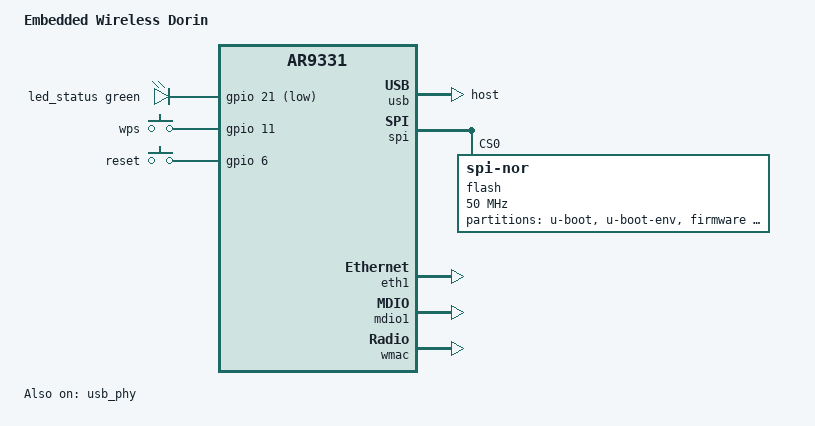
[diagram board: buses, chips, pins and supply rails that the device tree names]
// SPDX-License-Identifier: GPL-2.0-or-later OR MIT

#include "ar9331.dtsi"

#include <dt-bindings/gpio/gpio.h>
#include <dt-bindings/input/input.h>
#include <dt-bindings/leds/common.h>

/ {
	model = "Embedded Wireless Dorin";
	compatible = "embeddedwireless,dorin", "qca,ar9331";

	aliases {
		led-boot = &led_status;
		led-failsafe = &led_status;
		led-running = &led_status;
		led-upgrade = &led_status;
	};

	leds {
		compatible = "gpio-leds";

		led_status: status {
			function = LED_FUNCTION_STATUS;
			color = <LED_COLOR_ID_GREEN>;
			gpios = <&gpio 21 GPIO_ACTIVE_LOW>;
		};
	};

	keys {
		compatible = "gpio-keys";

		wps {
			label = "wps";
			linux,code = <KEY_WPS_BUTTON>;
			gpios = <&gpio 11 GPIO_ACTIVE_HIGH>;
		};

		reset {
			label = "reset";
			linux,code = <KEY_RESTART>;
			gpios = <&gpio 6 GPIO_ACTIVE_HIGH>;
		};
	};
};

&usb {
	dr_mode = "host";
	status = "okay";
};

&usb_phy {
	status = "okay";
};

&spi {
	status = "okay";

	flash@0 {
		compatible = "jedec,spi-nor";
		spi-max-frequency = <50000000>;
		reg = <0>;

		partitions {
			compatible = "fixed-partitions";
			#address-cells = <1>;
			#size-cells = <1>;

			partition@0 {
				label = "u-boot";
				reg = <0x000000 0x040000>;
				read-only;
			};

			partition@40000 {
				label = "u-boot-env";
				reg = <0x040000 0x010000>;
			};

			partition@50000 {
				compatible = "denx,uimage";
				label = "firmware";
				reg = <0x050000 0xfa0000>;
			};

			partition@ff0000 {
				label = "art";
				reg = <0xff0000 0x010000>;
				read-only;

				nvmem-layout {
					compatible = "fixed-layout";
					#address-cells = <1>;
					#size-cells = <1>;

					cal_art_1000: calibration@1000 {
						reg = <0x1000 0x440>;
					};

					macaddr_art_1002: macaddr@1002 {
						compatible = "mac-base";
						reg = <0x1002 0x6>;
						#nvmem-cell-cells = <1>;
					};
				};
			};
		};
	};
};

&eth1 {
	status = "okay";

	nvmem-cells = <&macaddr_art_1002 0x400000>;
	nvmem-cell-names = "mac-address";
};

&mdio1 {
	status = "okay";
};

&wmac {
	status = "okay";

	nvmem-cells = <&cal_art_1000>;
	nvmem-cell-names = "calibration";
};
